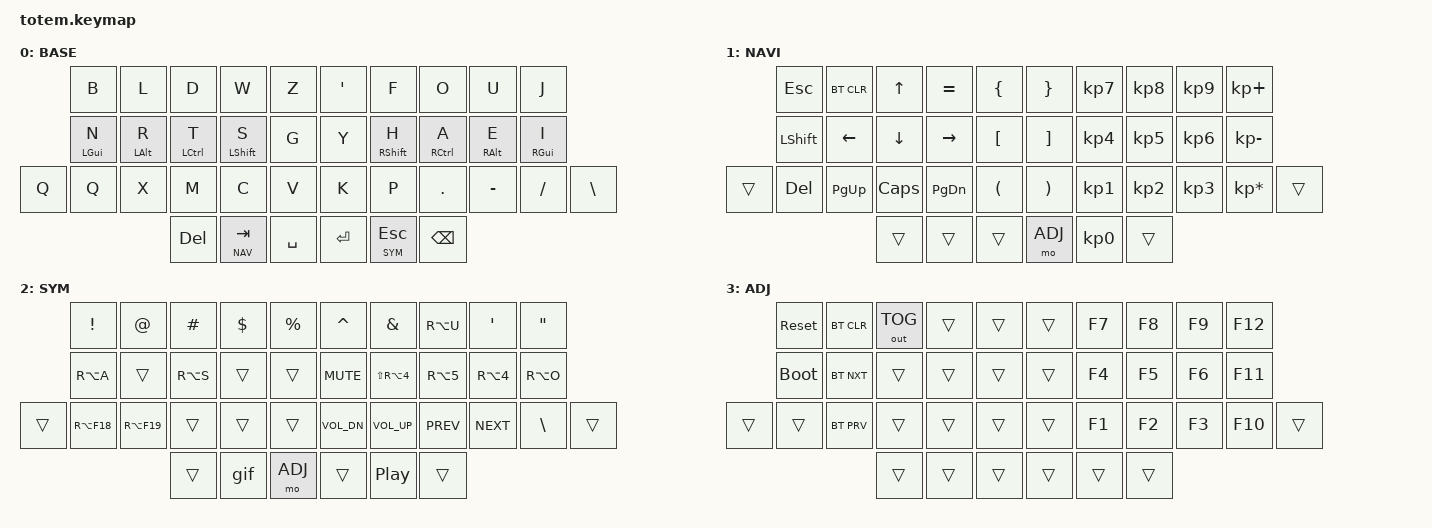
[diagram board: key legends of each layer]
//
//                                                        ▀▀▀▀▀     ▀▀▀▀▀          ▀▀█▀▀
//                                                        ▄▀▀▀▄  ▄  ▄▀▀▀▄  ▄  ▄▀▀▀▄  █  ▄▀▀▀▄
//                                                        █   █  █  █   █  █  █   █  █  █   █
//                                                         ▀▀▀   █   ▀▀▀   █   ▀▀▀   ▀   ▀▀▀
//                                                               █      ▄▄▄█▄▄▄    █   █  
//                                                               ▀      █  █  █     █▄█
//                                                             ▀▀▀▀▀    █  █  █      ▀
//                                                                      ▀  ▀  ▀
//
// ▄▄▄▄▄▄▄▄▄▄▄▄▄▄▄▄▄▄▄▄▄▄▄▄▄▄▄▄▄▄▄▄▄▄▄▄▄▄▄▄▄▄▄▄▄▄▄▄▄▄▄▄▄▄▄▄▄▄▄▄▄▄▄▄▄▄▄▄▄▄▄▄▄▄▄▄▄▄▄▄▄▄▄▄▄▄▄▄▄▄▄▄▄▄▄▄▄▄▄▄▄▄▄▄▄▄▄▄▄▄▄▄▄▄▄▄▄▄▄▄▄▄▄▄▄▄▄▄▄▄▄▄▄▄▄▄▄▄▄▄▄▄▄▄▄▄▄▄▄
       

#include <behaviors.dtsi>
#include <behaviors/num_word.dtsi>
#include <dt-bindings/zmk/keys.h>
#include <dt-bindings/zmk/bt.h>
#include <dt-bindings/zmk/outputs.h>
#include "zmk-helpers/helper.h"
#define _BT_SEL_KEYS_                                                        \
      &bt BT_SEL 0 &bt BT_SEL 1 &bt BT_SEL 2 &bt BT_SEL 3 &bt BT_CLR

#define BASE 0
#define NAV  1
#define SYM  2
#define ADJ  3

&mt {
  quick-tap-ms = <100>;
  global-quick-tap;
  flavor = "tap-preferred";
  tapping-term-ms = <170>;
};

/ {
    combos {
            compatible = "zmk,combos";
            combo_esc {
                timeout-ms = <50>;
                key-positions = <0 1>;
                bindings = <&kp ESC>;
            };
    };

    macros {
        gif: gif {
            label = "giphy";
            compatible = "zmk,behavior-macro";
            #binding-cells = <0>;
            bindings
                = <&macro_press &kp LSHFT>
                , <&macro_tap &kp N2>
                , <&macro_release &kp LSHFT>
                , <&macro_tap &kp G &kp I &kp F>
                ;
        };
    };

        keymap {
                compatible = "zmk,keymap";
// ▄▄▄▄▄▄▄▄▄▄▄▄▄▄▄▄▄▄▄▄▄▄▄▄▄▄▄▄▄▄▄▄▄▄▄▄▄▄▄▄▄▄▄▄▄▄▄▄▄▄▄▄▄▄▄▄▄▄▄▄▄▄▄▄▄▄▄▄▄▄▄▄▄▄▄▄▄▄▄▄▄▄▄▄▄▄▄▄▄▄▄▄▄▄▄▄▄▄▄▄▄▄▄▄▄▄▄▄▄▄▄▄▄▄▄▄▄▄▄▄▄▄▄▄▄▄▄▄▄▄▄▄▄▄▄▄▄▄▄▄▄▄▄▄▄▄▄▄▄

                base_layer {
// ┏━━━━━━━━━━━━━━━━━━━━━━━━━━━━━━━━━━━━━━━┓
label= "BASE"                              ;
// ┗━━━━━━━━━━━━━━━━━━━━━━━━━━━━━━━━━━━━━━━┛
//             ┏━━━━━━━━━━━┳━━━━━━━━━━━┳━━━━━━━━━━━┳━━━━━━━━━━━┳━━━━━━━━━━━┓   ┏━━━━━━━━━━━┳━━━━━━━━━━━┳━━━━━━━━━━━┳━━━━━━━━━━━┳━━━━━━━━━━━┓
//             ┃     B     ┃     L     ┃     D     ┃     W     ┃     Z     ┃   ┃     '     ┃     F     ┃     O     ┃     U     ┃     J     ┃
//             ┣━━━━━━━━━━━╋━━━━━━━━━━━╋━━━━━━━━━━━╋━━━━━━━━━━━╋━━━━━━━━━━━┫   ┣━━━━━━━━━━━╋━━━━━━━━━━━╋━━━━━━━━━━━╋━━━━━━━━━━━╋━━━━━━━━━━━┫
//             ┃     N     ┃     R     ┃     T     ┃     S     ┃     G     ┃   ┃     Y     ┃     H     ┃     A     ┃     E     ┃     I     ┃
// ┏━━━━━━━━━━━╋━━━━━━━━━━━╋━━━━━━━━━━━╋━━━━━━━━━━━╋━━━━━━━━━━━╋━━━━━━━━━━━┫   ┣━━━━━━━━━━━╋━━━━━━━━━━━╋━━━━━━━━━━━╋━━━━━━━━━━━╋━━━━━━━━━━━╋━━━━━━━━━━━┓
// ┃     Q     ┃     Q     ┃     X     ┃     M     ┃     C     ┃     V     ┃   ┃     K     ┃     P     ┃     .     ┃     -     ┃     /     ┃     \     ┃
// ┗━━━━━━━━━━━┻━━━━━━━━━━━┻━━━━━━━━━━━╋━━━━━━━━━━━╋━━━━━━━━━━━╋━━━━━━━━━━━┫   ┣━━━━━━━━━━━╋━━━━━━━━━━━╋━━━━━━━━━━━╋━━━━━━━━━━━┻━━━━━━━━━━━┻━━━━━━━━━━━┛
//                                     ┃     DEL   ┃    TAB    ┃    SPC    ┃   ┃   ENTER   ┃     ESC   ┃     BSPC  ┃
//                                     ┗━━━━━━━━━━━┻━━━━━━━━━━━┻━━━━━━━━━━━┛   ┗━━━━━━━━━━━┻━━━━━━━━━━━┻━━━━━━━━━━━┛
 bindings = <
// ╷           ╷           ╷           ╷           ╷           ╷           ╷   ╷           ╷           ╷           ╷           ╷           ╷           ╷

                &kp B       &kp L       &kp D       &kp W       &kp Z           &kp SQT     &kp F       &kp O       &kp U       &kp J
                &mt LGUI N  &mt LALT R  &mt LCTRL T &mt LSHFT S &kp G           &kp Y       &mt RSHFT H &mt RCTRL A &mt RALT E  &mt RGUI I
    &kp Q       &kp Q       &kp X       &kp M       &kp C       &kp V           &kp K       &kp P       &kp DOT     &kp MINUS   &kp FSLH    &kp BSLH
                                        &kp DEL     &lt NAV TAB &kp SPACE       &kp RET     &lt SYM ESC &kp BSPC
                        >;
                };

// ▄▄▄▄▄▄▄▄▄▄▄▄▄▄▄▄▄▄▄▄▄▄▄▄▄▄▄▄▄▄▄▄▄▄▄▄▄▄▄▄▄▄▄▄▄▄▄▄▄▄▄▄▄▄▄▄▄▄▄▄▄▄▄▄▄▄▄▄▄▄▄▄▄▄▄▄▄▄▄▄▄▄▄▄▄▄▄▄▄▄▄▄▄▄▄▄▄▄▄▄▄▄▄▄▄▄▄▄▄▄▄▄▄▄▄▄▄▄▄▄▄▄▄▄▄▄▄▄▄▄▄▄▄▄▄▄▄▄▄▄▄▄▄▄▄▄▄▄▄


                nav_layer {
// ┏━━━━━━━━━━━━━━━━━━━━━━━━━━━━━━━━━━━━━━━┓
label= "NAVI"                              ;
// ┗━━━━━━━━━━━━━━━━━━━━━━━━━━━━━━━━━━━━━━━┛
//             ┏━━━━━━━━━━━┳━━━━━━━━━━━┳━━━━━━━━━━━┳━━━━━━━━━━━┳━━━━━━━━━━━┓   ┏━━━━━━━━━━━┳━━━━━━━━━━━┳━━━━━━━━━━━┳━━━━━━━━━━━┳━━━━━━━━━━━┓
//             ┃           ┃           ┃     UP    ┃           ┃     {     ┃   ┃     }     ┃     7     ┃     8     ┃     9     ┃     +     ┃
//             ┣━━━━━━━━━━━╋━━━━━━━━━━━╋━━━━━━━━━━━╋━━━━━━━━━━━╋━━━━━━━━━━━┫   ┣━━━━━━━━━━━╋━━━━━━━━━━━╋━━━━━━━━━━━╋━━━━━━━━━━━╋━━━━━━━━━━━┫
//             ┃   SHIFT   ┃   LEFT    ┃    DOWN   ┃   RIGHT   ┃     [     ┃   ┃     ]     ┃     4     ┃     5     ┃     6     ┃     -     ┃
// ┏━━━━━━━━━━━╋━━━━━━━━━━━╋━━━━━━━━━━━╋━━━━━━━━━━━╋━━━━━━━━━━━╋━━━━━━━━━━━┫   ┣━━━━━━━━━━━╋━━━━━━━━━━━╋━━━━━━━━━━━╋━━━━━━━━━━━╋━━━━━━━━━━━╋━━━━━━━━━━━┓
// ┃           ┃           ┃   P UP    ┃  C LOCK   ┃  P DOWN   ┃     (     ┃   ┃     )     ┃     1     ┃     2     ┃     3     ┃     *     ┃           ┃
// ┗━━━━━━━━━━━┻━━━━━━━━━━━┻━━━━━━━━━━━╋━━━━━━━━━━━╋━━━━━━━━━━━╋━━━━━━━━━━━┫   ┣━━━━━━━━━━━╋━━━━━━━━━━━╋━━━━━━━━━━━╋━━━━━━━━━━━┻━━━━━━━━━━━┻━━━━━━━━━━━┛
//                                     ┃           ┃    TAB    ┃    SPC    ┃   ┃    DEL    ┃     0     ┃           ┃
//                                     ┗━━━━━━━━━━━┻━━━━━━━━━━━┻━━━━━━━━━━━┛   ┗━━━━━━━━━━━┻━━━━━━━━━━━┻━━━━━━━━━━━┛
 bindings = <
// ╷           ╷           ╷           ╷           ╷           ╷           ╷   ╷           ╷           ╷           ╷           ╷           ╷           ╷

                &kp ESC     &bt BT_CLR  &kp UP      &kp EQUAL   &kp LBRC        &kp RBRC    &kp KP_N7   &kp KP_N8   &kp KP_N9   &kp KP_PLUS
                &kp LSHFT   &kp LEFT    &kp DOWN    &kp RIGHT   &kp LBKT        &kp RBKT    &kp KP_N4   &kp KP_N5   &kp KP_N6   &kp KP_MINUS
    &trans      &kp DEL     &kp PG_UP   &kp CAPS    &kp PG_DN   &kp LPAR        &kp RPAR    &kp KP_N1   &kp KP_N2   &kp KP_N3   &kp KP_MULTIPLY &trans      
                                        &trans      &trans      &trans          &mo ADJ     &kp KP_N0   &trans      
                        >;
                };

// ▄▄▄▄▄▄▄▄▄▄▄▄▄▄▄▄▄▄▄▄▄▄▄▄▄▄▄▄▄▄▄▄▄▄▄▄▄▄▄▄▄▄▄▄▄▄▄▄▄▄▄▄▄▄▄▄▄▄▄▄▄▄▄▄▄▄▄▄▄▄▄▄▄▄▄▄▄▄▄▄▄▄▄▄▄▄▄▄▄▄▄▄▄▄▄▄▄▄▄▄▄▄▄▄▄▄▄▄▄▄▄▄▄▄▄▄▄▄▄▄▄▄▄▄▄▄▄▄▄▄▄▄▄▄▄▄▄▄▄▄▄▄▄▄▄▄▄▄▄


                sim_layer {
// ┏━━━━━━━━━━━━━━━━━━━━━━━━━━━━━━━━━━━━━━━┓
label= "SYM"                               ;
// ┗━━━━━━━━━━━━━━━━━━━━━━━━━━━━━━━━━━━━━━━┛
//             ┏━━━━━━━━━━━┳━━━━━━━━━━━┳━━━━━━━━━━━┳━━━━━━━━━━━┳━━━━━━━━━━━┓   ┏━━━━━━━━━━━┳━━━━━━━━━━━┳━━━━━━━━━━━┳━━━━━━━━━━━┳━━━━━━━━━━━┓
//             ┃     !     ┃     @     ┃     #     ┃     $     ┃     %     ┃   ┃     ˆ     ┃     &     ┃     Ü     ┃     '     ┃     "     ┃
//             ┣━━━━━━━━━━━╋━━━━━━━━━━━╋━━━━━━━━━━━╋━━━━━━━━━━━╋━━━━━━━━━━━┫   ┣━━━━━━━━━━━╋━━━━━━━━━━━╋━━━━━━━━━━━╋━━━━━━━━━━━╋━━━━━━━━━━━┫
//             ┃     Ä     ┃           ┃    SZ     ┃           ┃           ┃   ┃   MUTE    ┃   YEN     ┃   EURO    ┃  POUND    ┃     Ö     ┃
// ┏━━━━━━━━━━━╋━━━━━━━━━━━╋━━━━━━━━━━━╋━━━━━━━━━━━╋━━━━━━━━━━━╋━━━━━━━━━━━┫   ┣━━━━━━━━━━━╋━━━━━━━━━━━╋━━━━━━━━━━━╋━━━━━━━━━━━╋━━━━━━━━━━━╋━━━━━━━━━━━┓
// ┃           ┃  EMAIL1   ┃  EMAIL2   ┃           ┃           ┃           ┃   ┃   VOL-    ┃   VOL+    ┃   LAST    ┃   NEXT    ┃     \     ┃           ┃
// ┗━━━━━━━━━━━┻━━━━━━━━━━━┻━━━━━━━━━━━╋━━━━━━━━━━━╋━━━━━━━━━━━╋━━━━━━━━━━━┫   ┣━━━━━━━━━━━╋━━━━━━━━━━━╋━━━━━━━━━━━╋━━━━━━━━━━━┻━━━━━━━━━━━┻━━━━━━━━━━━┛
//                                     ┃           ┃    GIF    ┃    ADJ    ┃   ┃           ┃           ┃           ┃
//                                     ┗━━━━━━━━━━━┻━━━━━━━━━━━┻━━━━━━━━━━━┛   ┗━━━━━━━━━━━┻━━━━━━━━━━━┻━━━━━━━━━━━┛
 bindings = <
// ╷           ╷           ╷           ╷           ╷           ╷           ╷   ╷           ╷           ╷           ╷           ╷           ╷           ╷

                &kp EXCL    &kp AT      &kp HASH    &kp DLLR    &kp PRCNT       &kp CARET   &kp AMPS    &kp RA(U)   &kp SQT     &kp DQT       
                &kp RA(A)   &trans      &kp RA(S)   &trans      &trans          &kp C_MUTE  &kp LS(RA(N4)) &kp RA(N5) &kp RA(N4)   &kp RA(O) 
    &trans      &kp RA(F18) &kp RA(F19) &trans      &trans      &trans          &kp C_VOL_DN &kp C_VOL_UP &kp C_PREV &kp C_NEXT  &kp BSLH   &trans         
                                        &trans      &gif        &mo ADJ         &trans      &kp C_PP    &trans      
                        >;
                };

// ▄▄▄▄▄▄▄▄▄▄▄▄▄▄▄▄▄▄▄▄▄▄▄▄▄▄▄▄▄▄▄▄▄▄▄▄▄▄▄▄▄▄▄▄▄▄▄▄▄▄▄▄▄▄▄▄▄▄▄▄▄▄▄▄▄▄▄▄▄▄▄▄▄▄▄▄▄▄▄▄▄▄▄▄▄▄▄▄▄▄▄▄▄▄▄▄▄▄▄▄▄▄▄▄▄▄▄▄▄▄▄▄▄▄▄▄▄▄▄▄▄▄▄▄▄▄▄▄▄▄▄▄▄▄▄▄▄▄▄▄▄▄▄▄▄▄▄▄▄


                adjust_layer {
// ┏━━━━━━━━━━━━━━━━━━━━━━━━━━━━━━━━━━━━━━━┓
label= "ADJ"                               ;
// ┗━━━━━━━━━━━━━━━━━━━━━━━━━━━━━━━━━━━━━━━┛
//             ┏━━━━━━━━━━━┳━━━━━━━━━━━┳━━━━━━━━━━━┳━━━━━━━━━━━┳━━━━━━━━━━━┓   ┏━━━━━━━━━━━┳━━━━━━━━━━━┳━━━━━━━━━━━┳━━━━━━━━━━━┳━━━━━━━━━━━┓
//             ┃   RESET   ┃ BT CLEAR  ┃  OUT TOG  ┃           ┃           ┃   ┃           ┃    F7     ┃    F8     ┃    F9     ┃    F12    ┃
//             ┣━━━━━━━━━━━╋━━━━━━━━━━━╋━━━━━━━━━━━╋━━━━━━━━━━━╋━━━━━━━━━━━┫   ┣━━━━━━━━━━━╋━━━━━━━━━━━╋━━━━━━━━━━━╋━━━━━━━━━━━╋━━━━━━━━━━━┫
//             ┃ BOOTLOAD  ┃ BT NEXT   ┃           ┃           ┃           ┃   ┃           ┃    F4     ┃    F5     ┃    F6     ┃    F11    ┃
// ┏━━━━━━━━━━━╋━━━━━━━━━━━╋━━━━━━━━━━━╋━━━━━━━━━━━╋━━━━━━━━━━━╋━━━━━━━━━━━┫   ┣━━━━━━━━━━━╋━━━━━━━━━━━╋━━━━━━━━━━━╋━━━━━━━━━━━╋━━━━━━━━━━━╋━━━━━━━━━━━┓
// ┃           ┃           ┃ BT PREV   ┃           ┃           ┃           ┃   ┃           ┃    F1     ┃    F2     ┃    F3     ┃    F10    ┃           ┃
// ┗━━━━━━━━━━━┻━━━━━━━━━━━┻━━━━━━━━━━━╋━━━━━━━━━━━╋━━━━━━━━━━━╋━━━━━━━━━━━┫   ┣━━━━━━━━━━━╋━━━━━━━━━━━╋━━━━━━━━━━━╋━━━━━━━━━━━┻━━━━━━━━━━━┻━━━━━━━━━━━┛
//                                     ┃           ┃           ┃           ┃   ┃           ┃           ┃           ┃
//                                     ┗━━━━━━━━━━━┻━━━━━━━━━━━┻━━━━━━━━━━━┛   ┗━━━━━━━━━━━┻━━━━━━━━━━━┻━━━━━━━━━━━┛
 bindings = <
// ╷           ╷           ╷           ╷           ╷           ╷           ╷   ╷           ╷           ╷           ╷           ╷           ╷           ╷

                &sys_reset  &bt BT_CLR &out OUT_TOG &trans      &trans          &trans      &kp F7      &kp F8      &kp F9      &kp F12
                &bootloader &bt BT_NXT  &trans      &trans      &trans          &trans      &kp F4      &kp F5      &kp F6      &kp F11  
    &trans      &trans      &bt BT_PRV  &trans      &trans      &trans          &trans      &kp F1      &kp F2      &kp F3      &kp F10     &trans         
                                        &trans      &trans      &trans          &trans      &trans      &trans      
                        >;
                };
        };
};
